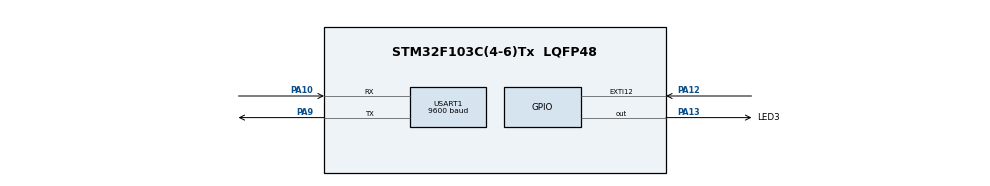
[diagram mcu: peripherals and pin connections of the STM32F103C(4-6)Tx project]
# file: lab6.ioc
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Mcu.Family=STM32F1
PA10.Mode=Asynchronous
USART1.BaudRate=9600
PA12.GPIO_ModeDefaultEXTI=GPIO_MODE_IT_FALLING
VP_SYS_VS_ND.Mode=No_Debug
ProjectManager.StackSize=0x400
PA13.Signal=GPIO_Output
PA9.Mode=Asynchronous
PA12.Signal=GPXTI12
ProjectManager.TargetToolchain=STM32CubeIDE
PA9.Signal=USART1_TX
NVIC.EXTI15_10_IRQn=true\:0\:0\:false\:true\:true\:2\:true\:true
board=custom
RCC.APB2Freq_Value=8000000
VP_TIM2_VS_ClockSourceINT.Mode=Internal
NVIC.TIM2_IRQn=true\:0\:0\:false\:true\:true\:1\:true\:true
TIM2.Period=1000
Mcu.Name=STM32F103C(4-6)Tx
PA13.GPIO_Label=LED3
Mcu.Package=LQFP48
TIM2.Prescaler=8000
USART1.VirtualMode=VM_ASYNC
PA10.Signal=USART1_RX
ProjectManager.HeapSize=0x200
NVIC.PriorityGroup=NVIC_PRIORITYGROUP_4
TIM2.TIM_MasterOutputTrigger=TIM_TRGO_UPDATE
NVIC.USART1_IRQn=true\:0\:0\:false\:false\:true\:true\:true
RCC.APB1Freq_Value=8000000

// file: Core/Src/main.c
/* USER CODE BEGIN Header */
/**
  ******************************************************************************
  * @file           : main.c
  * @brief          : Main program body
  ******************************************************************************
  * @attention
  *
  * <h2><center>&copy; Copyright (c) 2021 STMicroelectronics.
  * All rights reserved.</center></h2>
  *
  * This software component is licensed by ST under BSD 3-Clause license,
  * the "License"; You may not use this file except in compliance with the
  * License. You may obtain a copy of the License at:
  *                        opensource.org/licenses/BSD-3-Clause
  *
  ******************************************************************************
  */
/* USER CODE END Header */
#include "main.h"

/* USER CODE BEGIN Includes */
#include <stdio.h>
#include <string.h>
/* USER CODE END Includes */

TIM_HandleTypeDef htim2;

UART_HandleTypeDef huart1;

/* USER CODE BEGIN PV */
int count = 0;
char str[100];
/* USER CODE END PV */

void SystemClock_Config(void);
static void MX_GPIO_Init(void);
static void MX_USART1_UART_Init(void);
static void MX_TIM2_Init(void);
static void MX_NVIC_Init(void);
/* USER CODE BEGIN PFP */
void HAL_UART_TxCpltCallback(UART_HandleTypeDef *huart);
void HAL_TIM_PeriodElapsedCallback(TIM_HandleTypeDef *htim);
/* USER CODE END PFP */

int main(void)
{

  /* MCU Configuration--------------------------------------------------------*/

  /* Reset of all peripherals, Initializes the Flash interface and the Systick. */
  HAL_Init();

  /* Configure the system clock */
  SystemClock_Config();

  /* Initialize all configured peripherals */
  MX_GPIO_Init();
  MX_USART1_UART_Init();
  MX_TIM2_Init();

  /* Initialize interrupts */
  MX_NVIC_Init();
  /* USER CODE BEGIN 2 */
  HAL_TIM_Base_Start_IT(&htim2);
  /* USER CODE END 2 */

  /* Infinite loop */
  while (1)
  {

  }
}

void SystemClock_Config(void)
{
  RCC_OscInitTypeDef RCC_OscInitStruct = {0};
  RCC_ClkInitTypeDef RCC_ClkInitStruct = {0};

  /** Initializes the RCC Oscillators according to the specified parameters
  * in the RCC_OscInitTypeDef structure.
  */
  RCC_OscInitStruct.OscillatorType = RCC_OSCILLATORTYPE_HSI;
  RCC_OscInitStruct.HSIState = RCC_HSI_ON;
  RCC_OscInitStruct.HSICalibrationValue = RCC_HSICALIBRATION_DEFAULT;
  RCC_OscInitStruct.PLL.PLLState = RCC_PLL_NONE;
  if (HAL_RCC_OscConfig(&RCC_OscInitStruct) != HAL_OK)
  {
    Error_Handler();
  }
  /** Initializes the CPU, AHB and APB buses clocks
  */
  RCC_ClkInitStruct.ClockType = RCC_CLOCKTYPE_HCLK|RCC_CLOCKTYPE_SYSCLK
                              |RCC_CLOCKTYPE_PCLK1|RCC_CLOCKTYPE_PCLK2;
  RCC_ClkInitStruct.SYSCLKSource = RCC_SYSCLKSOURCE_HSI;
  RCC_ClkInitStruct.AHBCLKDivider = RCC_SYSCLK_DIV1;
  RCC_ClkInitStruct.APB1CLKDivider = RCC_HCLK_DIV1;
  RCC_ClkInitStruct.APB2CLKDivider = RCC_HCLK_DIV1;

  if (HAL_RCC_ClockConfig(&RCC_ClkInitStruct, FLASH_LATENCY_0) != HAL_OK)
  {
    Error_Handler();
  }
}

/**
  * @brief NVIC Configuration.
  * @retval None
  */
static void MX_NVIC_Init(void)
{
  /* TIM2_IRQn interrupt configuration */
  HAL_NVIC_SetPriority(TIM2_IRQn, 0, 0);
  HAL_NVIC_EnableIRQ(TIM2_IRQn);
  /* EXTI15_10_IRQn interrupt configuration */
  HAL_NVIC_SetPriority(EXTI15_10_IRQn, 0, 0);
  HAL_NVIC_EnableIRQ(EXTI15_10_IRQn);
}

static void MX_TIM2_Init(void)
{

  TIM_ClockConfigTypeDef sClockSourceConfig = {0};
  TIM_MasterConfigTypeDef sMasterConfig = {0};

  htim2.Instance = TIM2;
  htim2.Init.Prescaler = 8000;
  htim2.Init.CounterMode = TIM_COUNTERMODE_UP;
  htim2.Init.Period = 1000;
  htim2.Init.ClockDivision = TIM_CLOCKDIVISION_DIV1;
  htim2.Init.AutoReloadPreload = TIM_AUTORELOAD_PRELOAD_DISABLE;
  if (HAL_TIM_Base_Init(&htim2) != HAL_OK)
  {
    Error_Handler();
  }
  sClockSourceConfig.ClockSource = TIM_CLOCKSOURCE_INTERNAL;
  if (HAL_TIM_ConfigClockSource(&htim2, &sClockSourceConfig) != HAL_OK)
  {
    Error_Handler();
  }
  sMasterConfig.MasterOutputTrigger = TIM_TRGO_UPDATE;
  sMasterConfig.MasterSlaveMode = TIM_MASTERSLAVEMODE_DISABLE;
  if (HAL_TIMEx_MasterConfigSynchronization(&htim2, &sMasterConfig) != HAL_OK)
  {
    Error_Handler();
  }

}

static void MX_USART1_UART_Init(void)
{

  huart1.Instance = USART1;
  huart1.Init.BaudRate = 9600;
  huart1.Init.WordLength = UART_WORDLENGTH_8B;
  huart1.Init.StopBits = UART_STOPBITS_1;
  huart1.Init.Parity = UART_PARITY_NONE;
  huart1.Init.Mode = UART_MODE_TX_RX;
  huart1.Init.HwFlowCtl = UART_HWCONTROL_NONE;
  huart1.Init.OverSampling = UART_OVERSAMPLING_16;
  if (HAL_UART_Init(&huart1) != HAL_OK)
  {
    Error_Handler();
  }

}

static void MX_GPIO_Init(void)
{
  GPIO_InitTypeDef GPIO_InitStruct = {0};

  /* GPIO Ports Clock Enable */
  __HAL_RCC_GPIOA_CLK_ENABLE();

  /*Configure GPIO pin Output Level */
  HAL_GPIO_WritePin(LED3_GPIO_Port, LED3_Pin, GPIO_PIN_RESET);

  /*Configure GPIO pin : PA12 */
  GPIO_InitStruct.Pin = GPIO_PIN_12;
  GPIO_InitStruct.Mode = GPIO_MODE_IT_FALLING;
  GPIO_InitStruct.Pull = GPIO_NOPULL;
  HAL_GPIO_Init(GPIOA, &GPIO_InitStruct);

  /*Configure GPIO pin : LED3_Pin */
  GPIO_InitStruct.Pin = LED3_Pin;
  GPIO_InitStruct.Mode = GPIO_MODE_OUTPUT_PP;
  GPIO_InitStruct.Pull = GPIO_NOPULL;
  GPIO_InitStruct.Speed = GPIO_SPEED_FREQ_LOW;
  HAL_GPIO_Init(LED3_GPIO_Port, &GPIO_InitStruct);

}

/* USER CODE BEGIN 4 */
void HAL_TIM_PeriodElapsedCallback(TIM_HandleTypeDef *htim)
{
	if(htim->Instance == TIM2)
	{

		count += 1;
		if(count == INT32_MAX)
		{
			HAL_UART_Transmit_IT(&huart1, (uint8_t*)"\n\rTimer max value. Drop timer :\n\r", sizeof("\n\rTimer max value. Drop timer :\n\r"));
			count = 0;
		}
		else
		{
			HAL_UART_Transmit_IT(&huart1, (uint8_t*)"\n\rTime :\n\r", sizeof("\n\rTime :\n\r"));
		}
	}
}

void HAL_UART_TxCpltCallback(UART_HandleTypeDef *huart)
{
	  if(huart == &huart1)
	  {
		  HAL_GPIO_TogglePin(LED3_GPIO_Port, LED3_Pin);
		  HAL_UART_Transmit(&huart1, (uint8_t*)str, sprintf(str, "%d", count), 1);
	  }
}

void HAL_GPIO_EXTI_Callback(uint16_t GPIO_Pin)
{
  if(GPIO_Pin == GPIO_PIN_12)
  {
	  count = 0;
  }
}
/* USER CODE END 4 */

void Error_Handler(void)
{
  __disable_irq();
  while (1)
  {
  }
}

/************************ (C) COPYRIGHT STMicroelectronics *****END OF FILE****/
